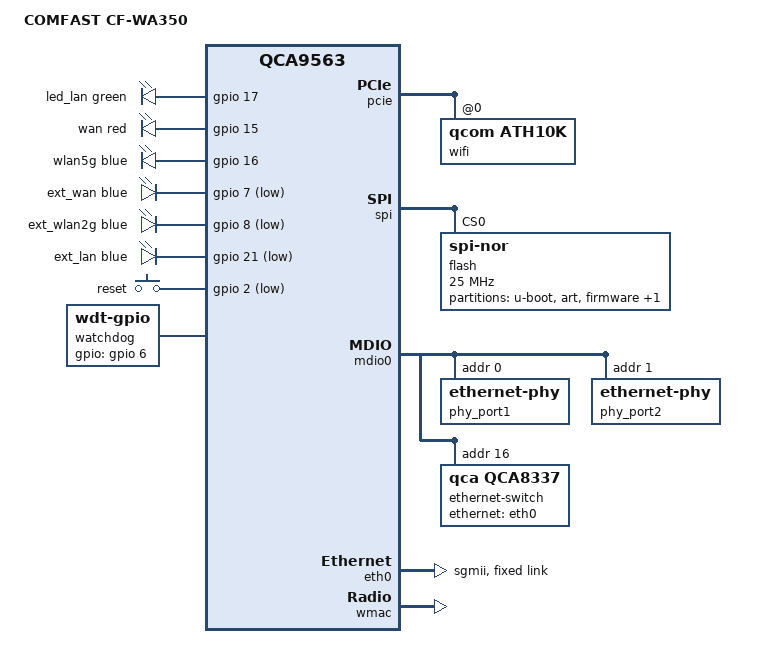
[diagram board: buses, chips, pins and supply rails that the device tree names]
// SPDX-License-Identifier: GPL-2.0-or-later OR MIT

#include "qca956x.dtsi"

#include <dt-bindings/gpio/gpio.h>
#include <dt-bindings/input/input.h>
#include <dt-bindings/leds/common.h>

/ {
	model = "COMFAST CF-WA350";
	compatible = "comfast,cf-wa350", "qca,qca9563";

	aliases {
		label-mac-device = &eth0;
		led-boot = &led_lan;
		led-failsafe = &led_lan;
		led-running = &led_lan;
		led-upgrade = &led_lan;
	};

	leds {
		compatible = "gpio-leds";

		led_lan: lan {
			color = <LED_COLOR_ID_GREEN>;
			function = LED_FUNCTION_LAN;
			gpios = <&gpio 17 GPIO_ACTIVE_HIGH>;
		};

		wan {
			color = <LED_COLOR_ID_RED>;
			function = LED_FUNCTION_WAN;
			gpios = <&gpio 15 GPIO_ACTIVE_HIGH>;
		};

		wlan5g {
			color = <LED_COLOR_ID_BLUE>;
			function = LED_FUNCTION_WLAN_5GHZ;
			gpios = <&gpio 16 GPIO_ACTIVE_HIGH>;
		};

		ext_wan {
			color = <LED_COLOR_ID_BLUE>;
			function = "ext-wan";
			gpios = <&gpio 7 GPIO_ACTIVE_LOW>;
		};

		ext_wlan2g {
			color = <LED_COLOR_ID_BLUE>;
			function = "ext-wlan2g";
			gpios = <&gpio 8 GPIO_ACTIVE_LOW>;
		};

		ext_lan {
			color = <LED_COLOR_ID_BLUE>;
			function = "ext-lan";
			gpios = <&gpio 21 GPIO_ACTIVE_LOW>;
		};
	};

	keys {
		compatible = "gpio-keys";

		reset {
			linux,code = <KEY_RESTART>;
			gpios = <&gpio 2 GPIO_ACTIVE_LOW>;
			debounce-interval = <60>;
		};
	};

	watchdog {
		compatible = "linux,wdt-gpio";
		gpios = <&gpio 6 GPIO_ACTIVE_HIGH>;
		hw_algo = "toggle";
		hw_margin_ms = <500>;
		always-running;
	};
};

&pcie {
	status = "okay";

	wifi@0,0 {
		compatible = "qcom,ath10k";
		reg = <0x0000 0 0 0 0>;
		nvmem-cells = <&precal_art_5000>, <&macaddr_art_0 2>;
		nvmem-cell-names = "pre-calibration", "mac-address";
	};
};

&spi {
	status = "okay";

	flash@0 {
		compatible = "jedec,spi-nor";
		reg = <0>;
		spi-max-frequency = <25000000>;

		partitions {
			compatible = "fixed-partitions";
			#address-cells = <1>;
			#size-cells = <1>;

			partition@0 {
				label = "u-boot";
				reg = <0x000000 0x040000>;
				read-only;
			};

			partition@40000 {
				label = "art";
				reg = <0x040000 0x010000>;
				read-only;

				nvmem-layout {
					compatible = "fixed-layout";
					#address-cells = <1>;
					#size-cells = <1>;

					macaddr_art_0: macaddr@0 {
						compatible = "mac-base";
						reg = <0x0 0x6>;
						#nvmem-cell-cells = <1>;
					};

					cal_art_1000: calibration@1000 {
						reg = <0x1000 0x440>;
					};

					precal_art_5000: pre-calibration@5000 {
						reg = <0x5000 0x2f20>;
					};
				};
			};

			partition@50000 {
				compatible = "denx,uimage";
				label = "firmware";
				reg = <0x050000 0xfa0000>;
			};

			partition@ff0000 {
				label = "art-backup";
				reg = <0xff0000 0x010000>;
				read-only;
			};
		};
	};
};

/*
 * The QCA8337 switch (reports PHY ID 0x004dd036, revision 2) exposes its
 * internal port PHYs on the external MDIO bus at addresses 0-4, while its
 * register protocol lives at addresses 0x10-0x18. Anchor the switch node at
 * 0x10 to avoid an address conflict with the port PHY at address 0.
 */
&mdio0 {
	status = "okay";

	phy_port1: ethernet-phy@0 {
		reg = <0>;
	};

	phy_port2: ethernet-phy@1 {
		reg = <1>;
	};

	ethernet-switch@10 {
		compatible = "qca,qca8337";
		#address-cells = <1>;
		#size-cells = <0>;

		reg = <0x10>;

		ethernet-ports {
			#address-cells = <1>;
			#size-cells = <0>;

			ethernet-port@0 {
				reg = <0>;
				ethernet = <&eth0>;
				phy-mode = "sgmii";

				/*
				 * The stock vendor firmware programs PORT0 PAD MODE CTRL
				 * (0x04) with 0x00080080: BIT(7) enables SGMII (handled
				 * via phy-mode) and BIT(19) selects the SGMII RX clock
				 * falling edge, which this board requires.
				 */
				qca,sgmii-rxclk-falling-edge;

				/*
				 * qca,sgmii-enable-pll is deliberately omitted: the
				 * binding advises it for a QCA8337 SGMII CPU port
				 * unless a communication issue is observed, and this
				 * board's SGMII CPU link is stable at 1G without it.
				 */

				fixed-link {
					speed = <1000>;
					full-duplex;
				};
			};

			/*
			 * phy-mode is deliberately omitted on the user ports:
			 * of_get_phy_mode() falls back to PHY_INTERFACE_MODE_NA
			 * when the property is absent, and qca8k then selects
			 * the external MDIO bus because phy-handle is present
			 * (qca8k_setup_mdio_bus()).
			 */
			ethernet-port@1 {
				reg = <1>;
				label = "wan";
				phy-handle = <&phy_port1>;
			};

			ethernet-port@2 {
				reg = <2>;
				label = "lan";
				phy-handle = <&phy_port2>;
			};
		};
	};
};

&wdt {
	status = "disabled";
};

&eth0 {
	status = "okay";

	pll-data = <0x03000101 0x00000101 0x00001919>;

	phy-mode = "sgmii";
	nvmem-cells = <&macaddr_art_0 0>;
	nvmem-cell-names = "mac-address";

	fixed-link {
		speed = <1000>;
		full-duplex;
	};
};

&wmac {
	status = "okay";

	nvmem-cells = <&macaddr_art_0 10>, <&cal_art_1000>;
	nvmem-cell-names = "mac-address", "calibration";
};
